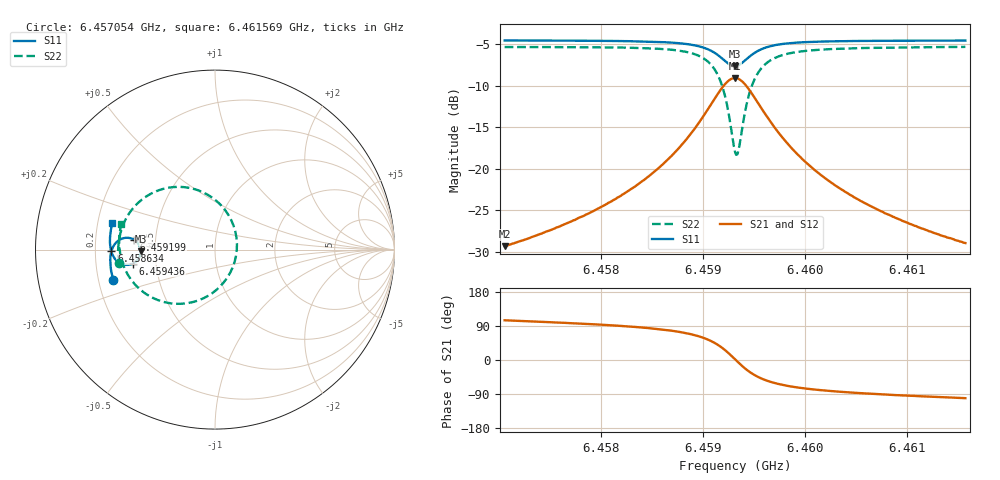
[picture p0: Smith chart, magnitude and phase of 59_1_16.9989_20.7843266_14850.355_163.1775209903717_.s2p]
#  HZ  S  RI  R  50.00
! Rohde & Schwarz Vector Network Analyzer
! Rohde-Schwarz,ZNB20-2Port,1311601062101988,3.16
! Created: UTC 3/20/2024, 10:54:43 PM
! freq[Hz]  re:S11  im:S11  re:S21  im:S21  re:S12  im:S12  re:S22  im:S22
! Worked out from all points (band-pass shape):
!   401 points, 6.457054 GHz to 6.461569 GHz, reference 50 ohm
!   highest |S21| = -9.07 dB at 6.459312 GHz (marker M1); lowest = -29.3 dB at 6.457054 GHz (marker M2)
!   |S21| within 3 dB of the highest: 6.459085 GHz to 6.459537 GHz (451.4 kHz wide, 0.00699 % of centre)
!   lowest |S11| = -7.7 dB at 6.459312 GHz (marker M3), VSWR 2.42, Z = 20.7 - j0.507 ohm
!   |S11| at or under -10 dB: nowhere
!   |S22| runs from -18.3 to -5.3 dB; largest |S21 - S12| = 0.014
!   S11 on the Smith chart (normalised r, x): 6.457054 GHz: 0.26, -0.13; 6.458634 GHz: 0.27, -0.01; 6.459199 GHz: 0.38, +0.05; 6.459436 GHz: 0.37, -0.07; 6.461569 GHz: 0.26, +0.12
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6.457054e9  -0.5677 -0.1678  -0.00877 0.0332  -0.00682 0.033  -0.5348 -0.0771
6.4578102e9  -0.5811 -0.1012  -0.0053 0.0514  -0.00275 0.0508  -0.539 0.0127
6.4582053e9  -0.5835 -0.0614  0.000497 0.0699  0.00365 0.0684  -0.5307 0.0757
6.4585665e9  -0.5793 -0.0178  0.0152 0.1004  0.0191 0.0976  -0.5032 0.1579
6.4586342e9  -0.5771 -0.00835  0.0207 0.109  0.0248 0.1057  -0.4928 0.1779
6.4588261e9  -0.564 0.0221  0.0479 0.1403  0.0519 0.1353  -0.4418 0.2474
6.4589729e9  -0.5409 0.0484  0.0942 0.1711  0.0973 0.1644  -0.3562 0.3118
6.4591083e9  -0.496 0.0658  0.1832 0.1874  0.184 0.18  -0.1938 0.3494
6.4591986e9  -0.4506 0.0547  0.2746 0.1548  0.2748 0.149  -0.0246 0.2957
6.4592664e9  -0.4211 0.0218  0.3356 0.081  0.338 0.0757  0.0913 0.1626
6.4593115e9  -0.4142 -0.0101  0.3517 0.0117  0.3554 0.0047  0.1223 0.0328
6.4593454e9  -0.4184 -0.0343  0.3453 -0.0416  0.3492 -0.0509  0.1092 -0.0683
6.4593905e9  -0.4345 -0.0609  0.3157 -0.1021  0.3178 -0.1145  0.0489 -0.1825
6.4594357e9  -0.457 -0.0774  0.2724 -0.1434  0.2715 -0.157  -0.0384 -0.2573
6.459526e9  -0.5012 -0.0844  0.186 -0.1744  0.1798 -0.1862  -0.2103 -0.3021
6.4595937e9  -0.5258 -0.0772  0.1372 -0.1719  0.129 -0.181  -0.3046 -0.2859
6.4596727e9  -0.5457 -0.0639  0.0971 -0.1598  0.0883 -0.1659  -0.3795 -0.2504
6.459842e9  -0.5688 -0.0343  0.0496 -0.1292  0.0418 -0.1318  -0.4639 -0.1721
6.4600678e9  -0.5806 -0.000628  0.0223 -0.0989  0.0164 -0.0995  -0.5083 -0.0935
6.4604064e9  -0.5853 0.04  0.00628 -0.0716  0.00192 -0.0711  -0.5296 -0.0138
6.4608241e9  -0.5836 0.0824  -0.00158 -0.0528  -0.00442 -0.0518  -0.5336 0.0542
6.4615691e9  -0.5719 0.1487  -0.00666 -0.0352  -0.00829 -0.0342  -0.5223 0.1432
